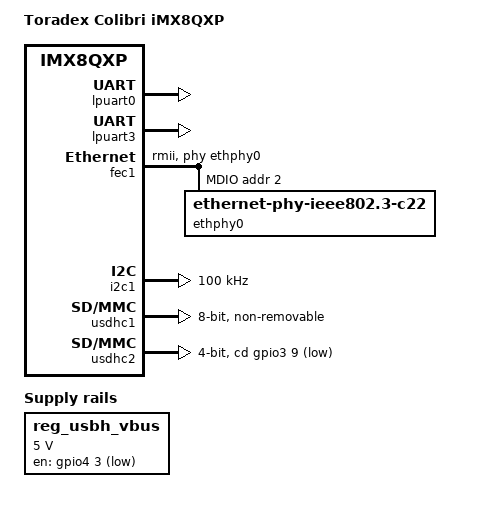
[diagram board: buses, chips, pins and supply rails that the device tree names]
// SPDX-License-Identifier: GPL-2.0+ OR X11
/*
 * Copyright 2019 Toradex AG
 */

/dts-v1/;

#include "fsl-imx8qxp.dtsi"
#include "fsl-imx8qxp-colibri-u-boot.dtsi"

/ {
	model = "Toradex Colibri iMX8QXP";
	compatible = "toradex,colibri-imx8qxp", "fsl,imx8qxp";

	chosen {
		bootargs = "console=ttyLP3,115200 earlycon=lpuart32,0x5a090000,115200";
		stdout-path = &lpuart3;
	};

	reg_usbh_vbus: regulator-usbh-vbus {
		compatible = "regulator-fixed";
		pinctrl-names = "default";
		pinctrl-0 = <&pinctrl_usbh1_reg>;
		regulator-name = "usbh_vbus";
		regulator-min-microvolt = <5000000>;
		regulator-max-microvolt = <5000000>;
		gpio = <&gpio4 3 GPIO_ACTIVE_LOW>;
	};
};

&iomuxc {
	pinctrl-names = "default";
	pinctrl-0 = <&pinctrl_hog0>, <&pinctrl_hog1>, <&pinctrl_hog2>;

	colibri-imx8qxp {
		pinctrl_lpuart0: lpuart0grp {
			fsl,pins = <
				SC_P_UART0_RX_ADMA_UART0_RX	0x06000020
				SC_P_UART0_TX_ADMA_UART0_TX	0x06000020
			>;
		};

		pinctrl_lpuart3: lpuart3grp {
			fsl,pins = <
				SC_P_FLEXCAN2_RX_ADMA_UART3_RX	0x06000020
				SC_P_FLEXCAN2_TX_ADMA_UART3_TX	0x06000020
			>;
		};

		pinctrl_lpuart3_ctrl: lpuart3ctrlgrp {
			fsl,pins = <
				SC_P_MIPI_DSI1_GPIO0_01_LSIO_GPIO2_IO00 0x00000020 /* DTR */
				SC_P_SAI1_RXD_LSIO_GPIO0_IO29		0x00000020 /* CTS */
				SC_P_SAI1_RXC_LSIO_GPIO0_IO30		0x00000020 /* RTS */
				SC_P_CSI_RESET_LSIO_GPIO3_IO03		0x00000020 /* DSR */
				SC_P_USDHC1_CD_B_LSIO_GPIO4_IO22	0x00000020 /* DCD */
				SC_P_CSI_EN_LSIO_GPIO3_IO02		0x00000020 /* RI */
			>;
		};

		pinctrl_fec1: fec1grp {
			fsl,pins = <
				SC_P_COMP_CTL_GPIO_1V8_3V3_ENET_ENETB0_PAD	0x000014a0 /* Use pads in 3.3V mode */
				SC_P_COMP_CTL_GPIO_1V8_3V3_ENET_ENETB1_PAD	0x000014a0 /* Use pads in 3.3V mode */
				SC_P_ENET0_MDC_CONN_ENET0_MDC			0x06000020
				SC_P_ENET0_MDIO_CONN_ENET0_MDIO			0x06000020
				SC_P_ENET0_RGMII_TX_CTL_CONN_ENET0_RGMII_TX_CTL	0x00000061
				SC_P_ENET0_RGMII_TXC_CONN_ENET0_RCLK50M_OUT	0x06000061
				SC_P_ENET0_RGMII_TXD0_CONN_ENET0_RGMII_TXD0	0x00000061
				SC_P_ENET0_RGMII_TXD1_CONN_ENET0_RGMII_TXD1	0x00000061
				SC_P_ENET0_RGMII_RX_CTL_CONN_ENET0_RGMII_RX_CTL	0x00000061
				SC_P_ENET0_RGMII_RXD0_CONN_ENET0_RGMII_RXD0	0x00000061
				SC_P_ENET0_RGMII_RXD1_CONN_ENET0_RGMII_RXD1	0x00000061
				SC_P_ENET0_RGMII_RXD2_CONN_ENET0_RMII_RX_ER	0x00000061
			>;
		};

		pinctrl_gpio_bl_on: gpio-bl-on {
			fsl,pins = <
				SC_P_QSPI0A_DATA3_LSIO_GPIO3_IO12	0x00000040
			>;
		};

		pinctrl_hog0: hog0grp {
			fsl,pins = <
				SC_P_COMP_CTL_GPIO_1V8_3V3_GPIORHB_PAD	0x000514a0 /* Use pads in 3.3V mode */
			>;
		};

		pinctrl_hog1: hog1grp {
			fsl,pins = <
				SC_P_QSPI0A_DATA1_LSIO_GPIO3_IO10	0x00000020 /*  45 */
				SC_P_ENET0_RGMII_TXD3_LSIO_GPIO5_IO02	0x06000020 /*  65 */
					SC_P_CSI_D07_CI_PI_D09		0x00000061
				SC_P_QSPI0A_DATA2_LSIO_GPIO3_IO11	0x00000020 /*  69 */
				SC_P_QSPI0A_DQS_LSIO_GPIO3_IO13		0x00000020 /*  73 */
				SC_P_SAI0_TXC_LSIO_GPIO0_IO26		0x00000020 /*  79 */
					SC_P_CSI_D02_CI_PI_D04		0x00000061
				SC_P_ENET0_RGMII_RXC_LSIO_GPIO5_IO03	0x06000020 /*  85 */
					SC_P_CSI_D06_CI_PI_D08		0x00000061
				SC_P_QSPI0B_SCLK_LSIO_GPIO3_IO17	0x00000020 /*  95 */
				SC_P_SAI0_RXD_LSIO_GPIO0_IO27		0x00000020 /*  97 */
					SC_P_CSI_D03_CI_PI_D05		0x00000061
				SC_P_QSPI0B_DATA0_LSIO_GPIO3_IO18	0x00000020 /*  99 */
				SC_P_SAI0_TXFS_LSIO_GPIO0_IO28		0x00000020 /* 101 */
					SC_P_CSI_D00_CI_PI_D02		0x00000061
				SC_P_SAI0_TXD_LSIO_GPIO0_IO25		0x00000020 /* 103 */
					SC_P_CSI_D01_CI_PI_D03		0x00000061
				SC_P_QSPI0B_DATA1_LSIO_GPIO3_IO19	0x00000020 /* 105 */
				SC_P_QSPI0B_DATA2_LSIO_GPIO3_IO20	0x00000020 /* 107 */
				SC_P_USB_SS3_TC2_LSIO_GPIO4_IO05	0x00000020 /* 127 */
				SC_P_USB_SS3_TC3_LSIO_GPIO4_IO06	0x00000020 /* 131 */
				SC_P_USB_SS3_TC1_LSIO_GPIO4_IO04	0x00000020 /* 133 */
				SC_P_CSI_PCLK_LSIO_GPIO3_IO00		0x00000020 /*  96 */
				SC_P_QSPI0B_DATA3_LSIO_GPIO3_IO21	0x00000020 /*  98 */
				SC_P_SAI1_RXFS_LSIO_GPIO0_IO31		0x00000020 /* 100 */
				SC_P_QSPI0B_DQS_LSIO_GPIO3_IO22		0x00000020 /* 102 */
				SC_P_QSPI0B_SS0_B_LSIO_GPIO3_IO23	0x00000020 /* 104 */
				SC_P_QSPI0B_SS1_B_LSIO_GPIO3_IO24	0x00000020 /* 106 */
			>;
		};

		pinctrl_hog2: hog2grp {
			fsl,pins = <
				SC_P_CSI_MCLK_LSIO_GPIO3_IO01		0x00000020 /*  75 */
				SC_P_QSPI0A_SS0_B_LSIO_GPIO3_IO14	0x00000020 /*  77 */
				SC_P_QSPI0A_SS1_B_LSIO_GPIO3_IO15	0x00000020 /*  89 */
				SC_P_QSPI0A_SCLK_LSIO_GPIO3_IO16	0x00000020 /*  93 */
			>;
		};

		/* Off Module I2C */
		pinctrl_i2c1: i2c1grp {
			fsl,pins = <
				SC_P_MIPI_DSI0_GPIO0_00_ADMA_I2C1_SCL	0x06000021
				SC_P_MIPI_DSI0_GPIO0_01_ADMA_I2C1_SDA	0x06000021
			>;
		};

		/*INT*/
		pinctrl_usb3503a: usb3503a-grp {
			fsl,pins = <
				SC_P_MIPI_CSI0_MCLK_OUT_LSIO_GPIO3_IO04 0x00000061
			>;
		};

		pinctrl_usbc_det: usbc-det {
			fsl,pins = <
				SC_P_ENET0_REFCLK_125M_25M_LSIO_GPIO5_IO09	0x06000040
			>;
		};

		pinctrl_usbh1_reg: usbh1-reg {
			fsl,pins = <
				SC_P_USB_SS3_TC0_LSIO_GPIO4_IO03	0x06000040
			>;
		};

		pinctrl_usdhc1: usdhc1grp {
			fsl,pins = <
				SC_P_EMMC0_CLK_CONN_EMMC0_CLK		0x06000041
				SC_P_EMMC0_CMD_CONN_EMMC0_CMD		0x00000021
				SC_P_EMMC0_DATA0_CONN_EMMC0_DATA0	0x00000021
				SC_P_EMMC0_DATA1_CONN_EMMC0_DATA1	0x00000021
				SC_P_EMMC0_DATA2_CONN_EMMC0_DATA2	0x00000021
				SC_P_EMMC0_DATA3_CONN_EMMC0_DATA3	0x00000021
				SC_P_EMMC0_DATA4_CONN_EMMC0_DATA4	0x00000021
				SC_P_EMMC0_DATA5_CONN_EMMC0_DATA5	0x00000021
				SC_P_EMMC0_DATA6_CONN_EMMC0_DATA6	0x00000021
				SC_P_EMMC0_DATA7_CONN_EMMC0_DATA7	0x00000021
				SC_P_EMMC0_STROBE_CONN_EMMC0_STROBE	0x00000041
				SC_P_EMMC0_RESET_B_CONN_EMMC0_RESET_B	0x00000021
			>;
		};

		pinctrl_usdhc1_100mhz: usdhc1grp100mhz {
			fsl,pins = <
				SC_P_EMMC0_CLK_CONN_EMMC0_CLK		0x06000041
				SC_P_EMMC0_CMD_CONN_EMMC0_CMD		0x00000021
				SC_P_EMMC0_DATA0_CONN_EMMC0_DATA0	0x00000021
				SC_P_EMMC0_DATA1_CONN_EMMC0_DATA1	0x00000021
				SC_P_EMMC0_DATA2_CONN_EMMC0_DATA2	0x00000021
				SC_P_EMMC0_DATA3_CONN_EMMC0_DATA3	0x00000021
				SC_P_EMMC0_DATA4_CONN_EMMC0_DATA4	0x00000021
				SC_P_EMMC0_DATA5_CONN_EMMC0_DATA5	0x00000021
				SC_P_EMMC0_DATA6_CONN_EMMC0_DATA6	0x00000021
				SC_P_EMMC0_DATA7_CONN_EMMC0_DATA7	0x00000021
				SC_P_EMMC0_STROBE_CONN_EMMC0_STROBE	0x00000041
				SC_P_EMMC0_RESET_B_CONN_EMMC0_RESET_B	0x00000021
			>;
		};

		pinctrl_usdhc1_200mhz: usdhc1grp200mhz {
			fsl,pins = <
				SC_P_EMMC0_CLK_CONN_EMMC0_CLK		0x06000041
				SC_P_EMMC0_CMD_CONN_EMMC0_CMD		0x00000021
				SC_P_EMMC0_DATA0_CONN_EMMC0_DATA0	0x00000021
				SC_P_EMMC0_DATA1_CONN_EMMC0_DATA1	0x00000021
				SC_P_EMMC0_DATA2_CONN_EMMC0_DATA2	0x00000021
				SC_P_EMMC0_DATA3_CONN_EMMC0_DATA3	0x00000021
				SC_P_EMMC0_DATA4_CONN_EMMC0_DATA4	0x00000021
				SC_P_EMMC0_DATA5_CONN_EMMC0_DATA5	0x00000021
				SC_P_EMMC0_DATA6_CONN_EMMC0_DATA6	0x00000021
				SC_P_EMMC0_DATA7_CONN_EMMC0_DATA7	0x00000021
				SC_P_EMMC0_STROBE_CONN_EMMC0_STROBE	0x00000041
				SC_P_EMMC0_RESET_B_CONN_EMMC0_RESET_B	0x00000021
			>;
		};

		pinctrl_usdhc2_gpio: usdhc2gpiogrp {
			fsl,pins = <
				SC_P_QSPI0A_DATA0_LSIO_GPIO3_IO09	0x06000021
			>;
		};

		pinctrl_usdhc2: usdhc2grp {
			fsl,pins = <
				SC_P_USDHC1_CLK_CONN_USDHC1_CLK		0x06000041
				SC_P_USDHC1_CMD_CONN_USDHC1_CMD		0x00000021
				SC_P_USDHC1_DATA0_CONN_USDHC1_DATA0	0x00000021
				SC_P_USDHC1_DATA1_CONN_USDHC1_DATA1	0x00000021
				SC_P_USDHC1_DATA2_CONN_USDHC1_DATA2	0x00000021
				SC_P_USDHC1_DATA3_CONN_USDHC1_DATA3	0x00000021
				SC_P_USDHC1_VSELECT_CONN_USDHC1_VSELECT	0x00000021
			>;
		};

		pinctrl_usdhc2_100mhz: usdhc2grp100mhz {
			fsl,pins = <
				SC_P_USDHC1_CLK_CONN_USDHC1_CLK		0x06000041
				SC_P_USDHC1_CMD_CONN_USDHC1_CMD		0x00000021
				SC_P_USDHC1_DATA0_CONN_USDHC1_DATA0	0x00000021
				SC_P_USDHC1_DATA1_CONN_USDHC1_DATA1	0x00000021
				SC_P_USDHC1_DATA2_CONN_USDHC1_DATA2	0x00000021
				SC_P_USDHC1_DATA3_CONN_USDHC1_DATA3	0x00000021
				SC_P_USDHC1_VSELECT_CONN_USDHC1_VSELECT	0x00000021
			>;
		};

		pinctrl_usdhc2_200mhz: usdhc2grp200mhz {
			fsl,pins = <
				SC_P_USDHC1_CLK_CONN_USDHC1_CLK		0x06000041
				SC_P_USDHC1_CMD_CONN_USDHC1_CMD		0x00000021
				SC_P_USDHC1_DATA0_CONN_USDHC1_DATA0	0x00000021
				SC_P_USDHC1_DATA1_CONN_USDHC1_DATA1	0x00000021
				SC_P_USDHC1_DATA2_CONN_USDHC1_DATA2	0x00000021
				SC_P_USDHC1_DATA3_CONN_USDHC1_DATA3	0x00000021
				SC_P_USDHC1_VSELECT_CONN_USDHC1_VSELECT	0x00000021
			>;
		};
	};
};

&lpuart0 {
	pinctrl-names = "default";
	pinctrl-0 = <&pinctrl_lpuart0>;
	status = "okay";
};

&lpuart3 {
	pinctrl-names = "default";
	pinctrl-0 = <&pinctrl_lpuart3>, <&pinctrl_lpuart3_ctrl>;
	status = "okay";
};

&gpio0 {
	status = "okay";
};

&gpio1 {
	status = "okay";
};

&gpio3 {
	status = "okay";
};

&gpio4 {
	status = "okay";
};

&fec1 {
	phy-handle = <&ethphy0>;
	phy-mode = "rmii";
	pinctrl-names = "default";
	pinctrl-0 = <&pinctrl_fec1>;
	status = "okay";

	mdio {
		#address-cells = <1>;
		#size-cells = <0>;

		ethphy0: ethernet-phy@2 {
			compatible = "ethernet-phy-ieee802.3-c22";
			max-speed = <100>;
			reg = <2>;
		};
	};
};

&i2c1 {
	#address-cells = <1>;
	#size-cells = <0>;
	clock-frequency = <100000>;
	pinctrl-names = "default";
	pinctrl-0 = <&pinctrl_i2c1>;
	status = "okay";
};

&usdhc1 {
	bus-width = <8>;
	non-removable;
	pinctrl-names = "default", "state_100mhz", "state_200mhz";
	pinctrl-0 = <&pinctrl_usdhc1>;
	pinctrl-1 = <&pinctrl_usdhc1_100mhz>;
	pinctrl-2 = <&pinctrl_usdhc1_200mhz>;
	status = "okay";
};

&usdhc2 {
	bus-width = <4>;
	cd-gpios = <&gpio3 9 GPIO_ACTIVE_LOW>;
	pinctrl-names = "default", "state_100mhz", "state_200mhz";
	pinctrl-0 = <&pinctrl_usdhc2>, <&pinctrl_usdhc2_gpio>;
	pinctrl-1 = <&pinctrl_usdhc2_100mhz>, <&pinctrl_usdhc2_gpio>;
	pinctrl-2 = <&pinctrl_usdhc2_200mhz>, <&pinctrl_usdhc2_gpio>;
	status = "okay";
};
